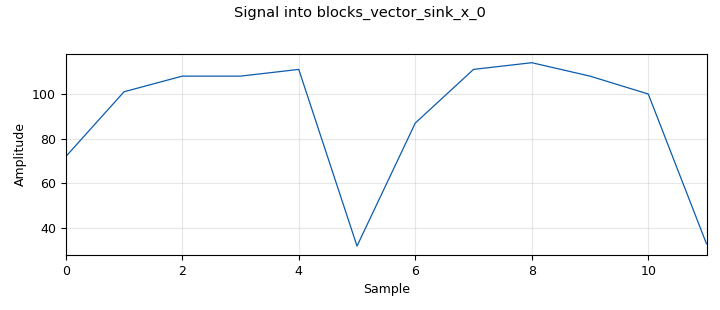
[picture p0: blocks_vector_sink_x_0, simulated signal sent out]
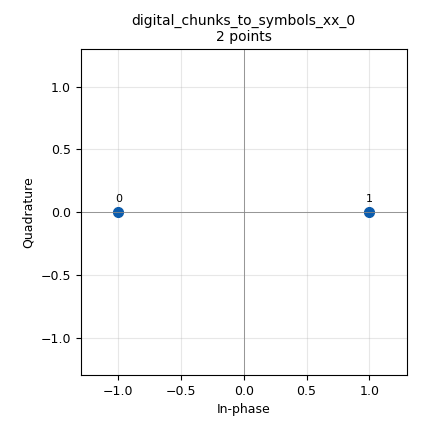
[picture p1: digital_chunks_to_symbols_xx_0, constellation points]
options:
  parameters:
    author: mushab404
    description: 'PHY2 Stage 01: Pure Baseband BPSK Loopback'
    generate_options: no_gui
    id: bpsk_loopback
    output_language: python
    title: 'PHY2 Test 01: BPSK Loopback'
  states: {}

blocks:
- name: BPSK_CONST
  id: variable_constellation_rect
  parameters:
    const_points: '[-1+0j, 1+0j]'
    imag_sect: '2'
    real_sect: '2'
    rot_sym: '2'
    sym_map: '[0, 1]'
    w_imag_sect: '1'
    w_real_sect: '1'
  states: {}
- name: samp_rate
  id: variable
  parameters:
    value: '32000'
  states: {}
- name: blocks_vector_source_x_0
  id: blocks_vector_source_x
  parameters:
    repeat: 'False'
    type: byte
    vector: '[0x48, 0x65, 0x6C, 0x6C, 0x6F, 0x20, 0x57, 0x6F, 0x72, 0x6C, 0x64, 0x21]'
  states: {}
- name: blocks_unpack_k_bits_bb_0
  id: blocks_unpack_k_bits_bb
  parameters:
    k: '8'
  states: {}
- name: digital_chunks_to_symbols_xx_0
  id: digital_chunks_to_symbols_xx
  parameters:
    dimension: '1'
    in_type: byte
    out_type: complex
    symbol_table: '[-1+0j, 1+0j]'
  states: {}
- name: digital_constellation_decoder_cb_0
  id: digital_constellation_decoder_cb
  parameters:
    constellation: BPSK_CONST
  states: {}
- name: blocks_pack_k_bits_bb_0
  id: blocks_pack_k_bits_bb
  parameters:
    k: '8'
  states: {}
- name: blocks_vector_sink_x_0
  id: blocks_vector_sink_x
  parameters:
    type: byte
  states: {}

connections:
- [blocks_vector_source_x_0, '0', blocks_unpack_k_bits_bb_0, '0']
- [blocks_unpack_k_bits_bb_0, '0', digital_chunks_to_symbols_xx_0, '0']
- [digital_chunks_to_symbols_xx_0, '0', digital_constellation_decoder_cb_0, '0']
- [digital_constellation_decoder_cb_0, '0', blocks_pack_k_bits_bb_0, '0']
- [blocks_pack_k_bits_bb_0, '0', blocks_vector_sink_x_0, '0']

metadata:
  file_format: 1
  grc_version: 3.10.12.0
